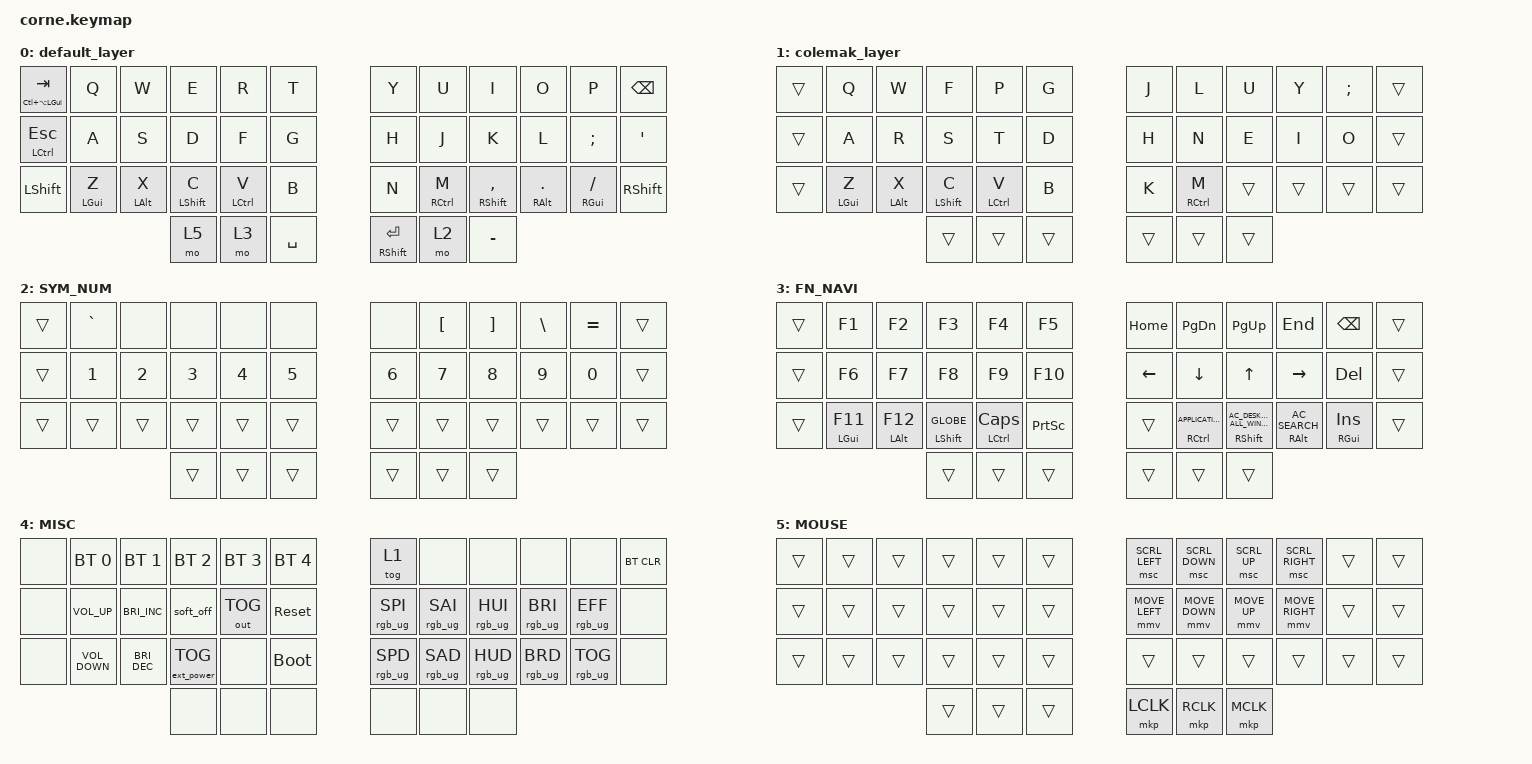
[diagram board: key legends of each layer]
/*
 * Copyright (c) 2020 The ZMK Contributors
 *
 * SPDX-License-Identifier: MIT
 */

#include <behaviors.dtsi>
#include <dt-bindings/zmk/bt.h>
#include <dt-bindings/zmk/ext_power.h>
#include <dt-bindings/zmk/keys.h>
#include <dt-bindings/zmk/outputs.h>
#include <dt-bindings/zmk/pointing.h>
#include <dt-bindings/zmk/rgb.h>

#define DEFAULT 0
#define COLEMAK 1
#define LOWER   2
#define RAISE   3
#define MISC    4

// ============================================
// Home Row Mods - Cross-hand positional hold-tap
// ============================================
// Corne 42-key layout:
// Row 0:  0   1   2   3   4   5  |  6   7   8   9  10  11
// Row 1: 12  13  14  15  16  17  | 18  19  20  21  22  23
// Row 2: 24  25  26  27  28  29  | 30  31  32  33  34  35
// Thumbs:        36  37  38      | 39  40  41

#define KEYS_L 0 1 2 3 4 5 12 13 14 15 16 17 24 25 26 27 28 29      // Left-hand keys
#define KEYS_R 6 7 8 9 10 11 18 19 20 21 22 23 30 31 32 33 34 35    // Right-hand keys
#define THUMBS 36 37 38 39 40 41                                    // Thumb keys

&mt {
    flavor = "balanced";
    tapping-term-ms = <200>;
};

/ {
    combos {
        compatible = "zmk,combos";

        tab {
            timeout-ms = <30>;
            key-positions = <1 2>;
            bindings = <&kp TAB>;
            layers = <0 1>;
        };

        backspace {
            bindings = <&kp BACKSPACE>;
            key-positions = <9 10>;
            timeout-ms = <30>;
            layers = <0 1>;
        };

        space {
            bindings = <&kp SPACE>;
            key-positions = <39 40>;
            timeout-ms = <30>;
            layers = <0 1>;
        };
    };

    behaviors {
        // Positional Home Row Mods - Left hand

        hml: home_row_mod_left {
            compatible = "zmk,behavior-hold-tap";
            #binding-cells = <2>;
            flavor = "balanced";
            tapping-term-ms = <200>;
            quick-tap-ms = <175>;
            require-prior-idle-ms = <150>;
            bindings = <&kp>, <&kp>;

            hold-trigger-key-positions = <KEYS_R THUMBS>;
            hold-trigger-on-release;
        };

        // Positional Home Row Mods - Right hand

        hmr: home_row_mod_right {
            compatible = "zmk,behavior-hold-tap";
            #binding-cells = <2>;
            flavor = "balanced";
            tapping-term-ms = <200>;
            quick-tap-ms = <175>;
            require-prior-idle-ms = <150>;
            bindings = <&kp>, <&kp>;

            hold-trigger-key-positions = <KEYS_L THUMBS>;
            hold-trigger-on-release;
        };

        td_esc_caps: td_esc_caps {
            compatible = "zmk,behavior-tap-dance";
            label = "TD_ESC_CAPS";
            #binding-cells = <0>;
            tapping-term-ms = <150>;
            bindings = <&mt LEFT_ALT ESCAPE>, <&kp CAPSLOCK>;
        };

        td_space: td_space {
            compatible = "zmk,behavior-tap-dance";
            label = "TD_SPACE";
            #binding-cells = <0>;
            bindings = <&mt LGUI SPACE>, <&kp SPACE>;

            tapping-term-ms = <100>;
        };
    };

    keymap {
        compatible = "zmk,keymap";

        default_layer {
            bindings = <
&mt LC(LA(LGUI)) TAB  &kp Q            &kp W            &kp E          &kp R         &kp T        &kp Y            &kp U         &kp I              &kp O                  &kp P                 &kp BACKSPACE
&mt LCTRL ESCAPE      &kp A            &kp S            &kp D          &kp F         &kp G        &kp H            &kp J         &kp K              &kp L                  &kp SEMICOLON         &kp SINGLE_QUOTE
&kp LSHFT             &hml LEFT_GUI Z  &hml LEFT_ALT X  &hml LSHIFT C  &hml LCTRL V  &kp B        &kp N            &hmr RCTRL M  &hmr RSHIFT COMMA  &hmr RIGHT_ALT PERIOD  &hmr RIGHT_GUI SLASH  &kp RSHFT
                                                        &mo 5          &mo 3         &kp SPACE    &mt RSHFT ENTER  &mo 2         &kp MINUS
            >;
        };

        colemak_layer {
            bindings = <
&trans  &kp Q            &kp W            &kp F              &kp P         &kp G     &kp J   &kp L         &kp U   &kp Y   &kp SEMI  &trans
&trans  &kp A            &kp R            &kp S              &kp T         &kp D     &kp H   &kp N         &kp E   &kp I   &kp O     &trans
&trans  &hml LEFT_GUI Z  &hml LEFT_ALT X  &hml LEFT_SHIFT C  &hml LCTRL V  &kp B     &kp K   &hmr RCTRL M  &trans  &trans  &trans    &trans
                                          &trans             &trans        &trans    &trans  &trans        &trans
            >;
        };

        lower_layer {
            bindings = <
&trans  &kp GRAVE     &none         &none         &none         &none     &none   &kp LEFT_BRACKET  &kp RIGHT_BRACKET  &kp BACKSLASH  &kp EQUAL     &trans
&trans  &kp NUMBER_1  &kp NUMBER_2  &kp NUMBER_3  &kp NUMBER_4  &kp N5    &kp N6  &kp NUMBER_7      &kp NUMBER_8       &kp NUMBER_9   &kp NUMBER_0  &trans
&trans  &trans        &trans        &trans        &trans        &trans    &trans  &trans            &trans             &trans         &trans        &trans
                                    &trans        &trans        &trans    &trans  &trans            &trans
            >;

            label = "SYM_NUM";
        };

        raise_layer {
            bindings = <
&trans  &kp F1             &kp F2             &kp F3                 &kp F4               &kp F5             &kp HOME  &kp PAGE_DOWN                     &kp PAGE_UP                                     &kp END                     &kp BSPC            &trans
&trans  &kp F6             &kp F7             &kp F8                 &kp F9               &kp F10            &kp LEFT  &kp DOWN                          &kp UP_ARROW                                    &kp RIGHT                   &kp DELETE          &trans
&trans  &hml LEFT_GUI F11  &hml LEFT_ALT F12  &hml LEFT_SHIFT GLOBE  &hml LCTRL CAPSLOCK  &kp PRINTSCREEN    &trans    &hmr RIGHT_CONTROL K_APPLICATION  &hmr RIGHT_SHIFT C_AC_DESKTOP_SHOW_ALL_WINDOWS  &hmr RIGHT_ALT C_AC_SEARCH  &hmr RIGHT_GUI INS  &trans
                                              &trans                 &trans               &trans             &trans    &trans                            &trans
            >;

            label = "FN_NAVI";
        };

        misc_layer {
            bindings = <
&none  &bt BT_SEL 0       &bt BT_SEL 1   &bt BT_SEL 2       &bt BT_SEL 3  &bt BT_SEL 4    &tog 1           &none            &none            &none            &none            &bt BT_CLR
&none  &kp C_VOL_UP       &kp C_BRI_INC  &soft_off          &out OUT_TOG  &sys_reset      &rgb_ug RGB_SPI  &rgb_ug RGB_SAI  &rgb_ug RGB_HUI  &rgb_ug RGB_BRI  &rgb_ug RGB_EFF  &none
&none  &kp C_VOLUME_DOWN  &kp C_BRI_DEC  &ext_power EP_TOG  &none         &bootloader     &rgb_ug RGB_SPD  &rgb_ug RGB_SAD  &rgb_ug RGB_HUD  &rgb_ug RGB_BRD  &rgb_ug RGB_TOG  &none
                                         &none              &none         &none           &none            &none            &none
            >;

            label = "MISC";
        };

        MOUSE {
            bindings = <
&trans  &trans  &trans  &trans  &trans  &trans    &msc SCRL_LEFT  &msc SCRL_DOWN  &msc SCRL_UP  &msc SCRL_RIGHT  &trans  &trans
&trans  &trans  &trans  &trans  &trans  &trans    &mmv MOVE_LEFT  &mmv MOVE_DOWN  &mmv MOVE_UP  &mmv MOVE_RIGHT  &trans  &trans
&trans  &trans  &trans  &trans  &trans  &trans    &trans          &trans          &trans        &trans           &trans  &trans
                        &trans  &trans  &trans    &mkp LCLK       &mkp RCLK       &mkp MCLK
            >;
        };
    };

    conditional_layers {
        compatible = "zmk,conditional-layers";

        Misc {
            if-layers = <2 3>;
            then-layer = <4>;
        };
    };
};
